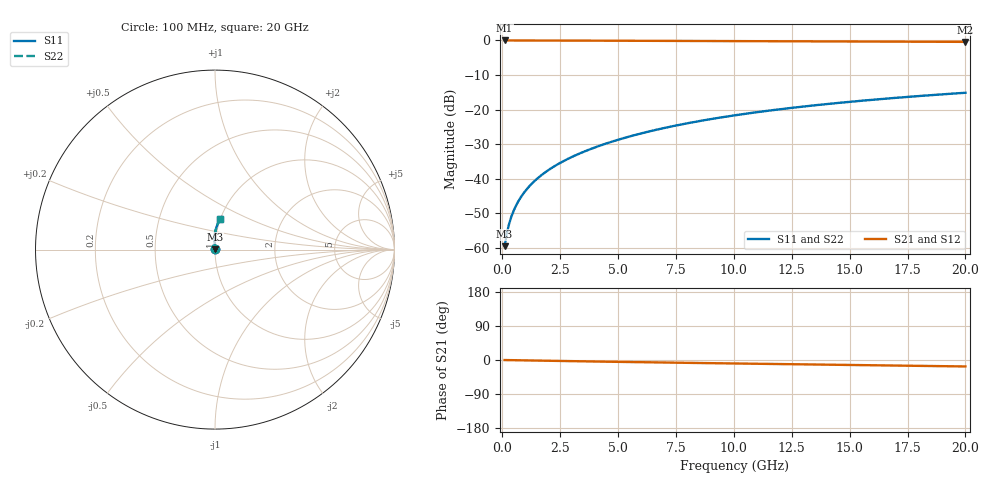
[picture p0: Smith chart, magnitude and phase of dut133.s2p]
! Touchstone file exported from HFSS 2024.1.0
!  File:  C:/UserFiles/LocalFiles/RDL_TSV_Batchsim/temp_RDL_bottom_133_1778696637.aedt
!  Generated:  02:26:11 AM May 14, 2026
!  Design:  RDL_bottom
!  Project:  temp_RDL_bottom_133_1778696637
!  Setup:  Setup1
!  Solution:  Sweep
! Variables:
!  dtsv = 10.80580581um
!  hbump = 3um
!  htsv = 64.58um
!  ldown = 213.08um
!  lrdl = 100um
!  p = 40
!  p1 = 59.45um
!  rhole = 1um
!  t = 450um
!  tdown = 4.48um
!  trdl = 3.915915916um
!  wdown = 29.67um
!  wrdl = 20um
# GHz S MA R 50.000000
! Terminal data exported
! Port[1] = RDL1_T1
! Port[2] = RDL1_T2
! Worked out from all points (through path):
!   200 points, 100 MHz to 20 GHz, reference 50 ohm
!   highest |S21| = -0.01 dB at 100 MHz (marker M1); lowest = -0.4 dB at 20 GHz (marker M2)
!   group delay of S21, straight-line fit = 2.32 ps
!   lowest |S11| = -59.5 dB at 100 MHz (marker M3), VSWR 1.00, Z = 50.1 + j0.0736 ohm
!   |S11| at or under -10 dB: start of sweep to end of sweep
!   |S22| runs from -59.5 to -15.1 dB; largest |S21 - S12| = 5.5e-15
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0.1  0.001063 43.7  0.9992 -0.1  0.9992 -0.1  0.001063 43.7
! Gamma 0 0 0 0
! Port Impedance 50 0 50 0
0.2  0.001651 60.4  0.9991 -0.2  0.9991 -0.2  0.001651 60.4
0.3  0.002271 67.8  0.9991 -0.3  0.9991 -0.3  0.002271 67.8
0.4  0.002892 72.3  0.999 -0.4  0.999 -0.4  0.002892 72.3
0.5  0.003516 75.4  0.9989 -0.5  0.9989 -0.5  0.003515 75.4
0.6  0.004144 77.8  0.9989 -0.6  0.9989 -0.6  0.004143 77.8
0.8  0.005415 81.1  0.9987 -0.8  0.9987 -0.8  0.005415 81.1
1.1  0.007361 84.4  0.9984 -1.1  0.9984 -1.1  0.00736 84.4
1.5  0.01002 87.2  0.9979 -1.6  0.9979 -1.6  0.01002 87.2
1.8  0.01206 88.6  0.9975 -1.9  0.9975 -1.9  0.01206 88.6
2.1  0.01414 89.8  0.997 -2.2  0.997 -2.2  0.01414 89.8
2.7  0.01844 91.5  0.9957 -2.8  0.9957 -2.8  0.01844 91.5
3.5  0.02448 93.0  0.9938 -3.5  0.9938 -3.5  0.02448 93.0
4.2  0.03003 93.7  0.992 -4.2  0.992 -4.2  0.03003 93.7
5  0.03667 94.1  0.9897 -4.9  0.9897 -4.9  0.03667 94.1
5.9  0.04446 94.1  0.9871 -5.7  0.9871 -5.7  0.04446 94.1
6.8  0.05252 93.7  0.9846 -6.5  0.9846 -6.5  0.05252 93.7
8.4  0.06729 92.6  0.9802 -7.9  0.9802 -7.9  0.06729 92.6
10.1  0.08332 90.9  0.9759 -9.2  0.9759 -9.2  0.08332 90.9
13.4  0.1146 87.4  0.9681 -11.9  0.9681 -11.9  0.1146 87.4
16.7  0.1453 83.8  0.9608 -14.5  0.9608 -14.5  0.1453 83.8
20  0.1753 80.3  0.9535 -17.0  0.9535 -17.0  0.1753 80.3
